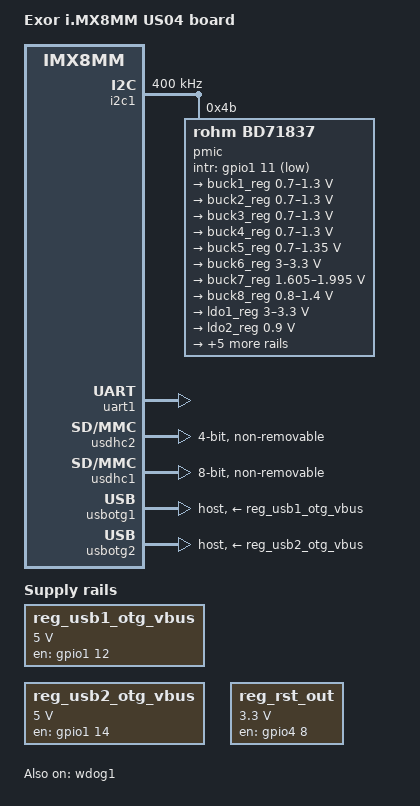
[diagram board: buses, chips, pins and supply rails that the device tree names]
/*
 * Copyright 2018 NXP
 * Copyright 2019 Exor International S.p.a.
 *
 * This program is free software; you can redistribute it and/or
 * modify it under the terms of the GNU General Public License
 * as published by the Free Software Foundation; either version 2
 * of the License, or (at your option) any later version.
 *
 * This program is distributed in the hope that it will be useful,
 * but WITHOUT ANY WARRANTY; without even the implied warranty of
 * MERCHANTABILITY or FITNESS FOR A PARTICULAR PURPOSE.  See the
 * GNU General Public License for more details.
 */

/dts-v1/;

#include "fsl-imx8mm.dtsi"

/ {
	model = "Exor i.MX8MM US04 board";
	compatible = "fsl,imx8mm-us04", "fsl,imx8mm";

	chosen {
		bootargs = "console=ttymxc0,115200 earlycon=ec_imx6q,0x30890000,115200";
		stdout-patch = &uart1;
	};
	
	aliases {
		mmc0 = &usdhc2;
		mmc1 = &usdhc1;
		mmc2 = &usdhc3;
    };

	regulators {
		compatible = "simple-bus";
		#address-cells = <1>;
		#size-cells = <0>;

        reg_usb1_otg_vbus: usb1_regulator {
            compatible = "regulator-fixed";
            reg = <0>;
            regulator-name = "usb1_vbus";
            regulator-min-microvolt = <5000000>;
            regulator-max-microvolt = <5000000>;
            gpio = <&gpio1 12 0>;
            enable-active-high;
        };

        reg_usb2_otg_vbus: usb2_regulator {
            compatible = "regulator-fixed";
            reg = <1>;
            regulator-name = "usb2_vbus";
            regulator-min-microvolt = <5000000>;
            regulator-max-microvolt = <5000000>;
            gpio = <&gpio1 14 0>;
            enable-active-high;
        };
        
        reg_rst_out: reset_out_regulator {
            compatible = "regulator-fixed";
            reg = <2>;
            regulator-name = "reset_out";
            regulator-min-microvolt = <3300000>;
            regulator-max-microvolt = <3300000>;
            gpio = <&gpio4 8 0>;
            enable-active-high;
            regulator-always-on;
            regulator-boot-on;
        };
    };
    
};

&iomuxc {
	pinctrl-names = "default";
	pinctrl-0 = <&pinctrl_hog>;

	imx8mm-evk {
		pinctrl_hog: hoggrp {
			fsl,pins = <
                MX8MM_IOMUXC_GPIO1_IO12_GPIO1_IO12      0x1c4
                MX8MM_IOMUXC_GPIO1_IO14_GPIO1_IO14      0x1c4
                MX8MM_IOMUXC_SAI1_RXD6_GPIO4_IO8        0x1c4
			>;
		};

		pinctrl_i2c1: i2c1grp {
			fsl,pins = <
				MX8MM_IOMUXC_I2C1_SCL_I2C1_SCL			0x400001c3
				MX8MM_IOMUXC_I2C1_SDA_I2C1_SDA			0x400001c3
			>;
		};

		pinctrl_pmic: pmicirq {
			fsl,pins = <
				MX8MM_IOMUXC_GPIO1_IO11_GPIO1_IO11		0x41
			>;
		};

		pinctrl_usdhc2: usdhc2grp {
			fsl,pins = <
				MX8MM_IOMUXC_SD2_CLK_USDHC2_CLK		0x190
				MX8MM_IOMUXC_SD2_CMD_USDHC2_CMD		0x1d0
				MX8MM_IOMUXC_SD2_DATA0_USDHC2_DATA0	0x1d0
				MX8MM_IOMUXC_SD2_DATA1_USDHC2_DATA1	0x1d0
				MX8MM_IOMUXC_SD2_DATA2_USDHC2_DATA2	0x1d0
				MX8MM_IOMUXC_SD2_DATA3_USDHC2_DATA3	0x1d0
			>;
		};

		pinctrl_usdhc2_100mhz: usdhc2grp100mhz {
			fsl,pins = <
				MX8MM_IOMUXC_SD2_CLK_USDHC2_CLK		0x194
				MX8MM_IOMUXC_SD2_CMD_USDHC2_CMD		0x1d4
				MX8MM_IOMUXC_SD2_DATA0_USDHC2_DATA0	0x1d4
				MX8MM_IOMUXC_SD2_DATA1_USDHC2_DATA1	0x1d4
				MX8MM_IOMUXC_SD2_DATA2_USDHC2_DATA2	0x1d4
				MX8MM_IOMUXC_SD2_DATA3_USDHC2_DATA3	0x1d4
			>;
		};

		pinctrl_usdhc2_200mhz: usdhc2grp200mhz {
			fsl,pins = <
				MX8MM_IOMUXC_SD2_CLK_USDHC2_CLK		0x196
				MX8MM_IOMUXC_SD2_CMD_USDHC2_CMD		0x1d6
				MX8MM_IOMUXC_SD2_DATA0_USDHC2_DATA0	0x1d6
				MX8MM_IOMUXC_SD2_DATA1_USDHC2_DATA1	0x1d6
				MX8MM_IOMUXC_SD2_DATA2_USDHC2_DATA2	0x1d6
				MX8MM_IOMUXC_SD2_DATA3_USDHC2_DATA3	0x1d6
			>;
		};

		pinctrl_usdhc1: usdhc1grp {
			fsl,pins = <
				MX8MM_IOMUXC_SD1_CLK_USDHC1_CLK       0x40000190
				MX8MM_IOMUXC_SD1_CMD_USDHC1_CMD       0x1d0
				MX8MM_IOMUXC_SD1_DATA0_USDHC1_DATA0   0x1d0
				MX8MM_IOMUXC_SD1_DATA1_USDHC1_DATA1   0x1d0
				MX8MM_IOMUXC_SD1_DATA2_USDHC1_DATA2   0x1d0
				MX8MM_IOMUXC_SD1_DATA3_USDHC1_DATA3   0x1d0
				MX8MM_IOMUXC_SD1_DATA4_USDHC1_DATA4   0x1d0
				MX8MM_IOMUXC_SD1_DATA5_USDHC1_DATA5   0x1d0
				MX8MM_IOMUXC_SD1_DATA6_USDHC1_DATA6   0x1d0
				MX8MM_IOMUXC_SD1_DATA7_USDHC1_DATA7   0x1d0
				MX8MM_IOMUXC_SD1_STROBE_USDHC1_STROBE 0x190
			>;
		};

		pinctrl_usdhc1_100mhz: usdhc1grp100mhz {
			fsl,pins = <
				MX8MM_IOMUXC_SD1_CLK_USDHC1_CLK       0x40000194
				MX8MM_IOMUXC_SD1_CMD_USDHC1_CMD       0x1d4
				MX8MM_IOMUXC_SD1_DATA0_USDHC1_DATA0   0x1d4
				MX8MM_IOMUXC_SD1_DATA1_USDHC1_DATA1   0x1d4
				MX8MM_IOMUXC_SD1_DATA2_USDHC1_DATA2   0x1d4
				MX8MM_IOMUXC_SD1_DATA3_USDHC1_DATA3   0x1d4
				MX8MM_IOMUXC_SD1_DATA4_USDHC1_DATA4   0x1d4
				MX8MM_IOMUXC_SD1_DATA5_USDHC1_DATA5   0x1d4
				MX8MM_IOMUXC_SD1_DATA6_USDHC1_DATA6   0x1d4
				MX8MM_IOMUXC_SD1_DATA7_USDHC1_DATA7   0x1d4
				MX8MM_IOMUXC_SD1_STROBE_USDHC1_STROBE 0x194
			>;
		};

		pinctrl_usdhc1_200mhz: usdhc1grp200mhz {
			fsl,pins = <
				MX8MM_IOMUXC_SD1_CLK_USDHC1_CLK       0x40000196
				MX8MM_IOMUXC_SD1_CMD_USDHC1_CMD       0x1d6
				MX8MM_IOMUXC_SD1_DATA0_USDHC1_DATA0   0x1d6
				MX8MM_IOMUXC_SD1_DATA1_USDHC1_DATA1   0x1d6
				MX8MM_IOMUXC_SD1_DATA2_USDHC1_DATA2   0x1d6
				MX8MM_IOMUXC_SD1_DATA3_USDHC1_DATA3   0x1d6
				MX8MM_IOMUXC_SD1_DATA4_USDHC1_DATA4   0x1d6
				MX8MM_IOMUXC_SD1_DATA5_USDHC1_DATA5   0x1d6
				MX8MM_IOMUXC_SD1_DATA6_USDHC1_DATA6   0x1d6
				MX8MM_IOMUXC_SD1_DATA7_USDHC1_DATA7   0x1d6
				MX8MM_IOMUXC_SD1_STROBE_USDHC1_STROBE 0x196
			>;
		};

		pinctrl_wdog: wdoggrp {
			fsl,pins = <
				MX8MM_IOMUXC_GPIO1_IO02_WDOG1_WDOG_B		0xc6
			>;
		};
	};
};

&i2c1 {
	clock-frequency = <400000>;
	pinctrl-names = "default";
	pinctrl-0 = <&pinctrl_i2c1>;
	status = "okay";

	pmic: bd71837@4b {
		reg = <0x4b>;
		compatible = "rohm,bd71837";
		/* PMIC BD71837 PMIC_nINT GPIO1_IO11 */
		pinctrl-0 = <&pinctrl_pmic>;
		gpio_intr = <&gpio1 11 GPIO_ACTIVE_LOW>;

		gpo {
			rohm,drv = <0x0C>;	/* 0b0000_1100 all gpos with cmos output mode */
		};

		regulators {
			#address-cells = <1>;
			#size-cells = <0>;

			bd71837,pmic-buck2-uses-i2c-dvs;
			bd71837,pmic-buck2-dvs-voltage = <1000000>, <900000>, <0>; /* VDD_ARM: Run-Idle */

			buck1_reg: regulator@0 {
				reg = <0>;
				regulator-compatible = "buck1";
				regulator-min-microvolt = <700000>;
				regulator-max-microvolt = <1300000>;
				regulator-boot-on;
				regulator-always-on;
				regulator-ramp-delay = <1250>;
			};

			buck2_reg: regulator@1 {
				reg = <1>;
				regulator-compatible = "buck2";
				regulator-min-microvolt = <700000>;
				regulator-max-microvolt = <1300000>;
				regulator-boot-on;
				regulator-always-on;
				regulator-ramp-delay = <1250>;
			};

			buck3_reg: regulator@2 {
				reg = <2>;
				regulator-compatible = "buck3";
				regulator-min-microvolt = <700000>;
				regulator-max-microvolt = <1300000>;
			};

			buck4_reg: regulator@3 {
				reg = <3>;
				regulator-compatible = "buck4";
				regulator-min-microvolt = <700000>;
				regulator-max-microvolt = <1300000>;
			};

			buck5_reg: regulator@4 {
				reg = <4>;
				regulator-compatible = "buck5";
				regulator-min-microvolt = <700000>;
				regulator-max-microvolt = <1350000>;
				regulator-boot-on;
				regulator-always-on;
			};

			buck6_reg: regulator@5 {
				reg = <5>;
				regulator-compatible = "buck6";
				regulator-min-microvolt = <3000000>;
				regulator-max-microvolt = <3300000>;
				regulator-boot-on;
				regulator-always-on;
			};

			buck7_reg: regulator@6 {
				reg = <6>;
				regulator-compatible = "buck7";
				regulator-min-microvolt = <1605000>;
				regulator-max-microvolt = <1995000>;
				regulator-boot-on;
				regulator-always-on;
			};

			buck8_reg: regulator@7 {
				reg = <7>;
				regulator-compatible = "buck8";
				regulator-min-microvolt = <800000>;
				regulator-max-microvolt = <1400000>;
				regulator-boot-on;
				regulator-always-on;
			};

			ldo1_reg: regulator@8 {
				reg = <8>;
				regulator-compatible = "ldo1";
				regulator-min-microvolt = <3000000>;
				regulator-max-microvolt = <3300000>;
				regulator-boot-on;
				regulator-always-on;
			};

			ldo2_reg: regulator@9 {
				reg = <9>;
				regulator-compatible = "ldo2";
				regulator-min-microvolt = <900000>;
				regulator-max-microvolt = <900000>;
				regulator-boot-on;
				regulator-always-on;
			};

			ldo3_reg: regulator@10 {
				reg = <10>;
				regulator-compatible = "ldo3";
				regulator-min-microvolt = <1800000>;
				regulator-max-microvolt = <3300000>;
				regulator-boot-on;
				regulator-always-on;
			};

			ldo4_reg: regulator@11 {
				reg = <11>;
				regulator-compatible = "ldo4";
				regulator-min-microvolt = <900000>;
				regulator-max-microvolt = <1800000>;
				regulator-boot-on;
				regulator-always-on;
			};

			ldo5_reg: regulator@12 {
				reg = <12>;
				regulator-compatible = "ldo5";
				regulator-min-microvolt = <1800000>;
				regulator-max-microvolt = <3300000>;
			};

			ldo6_reg: regulator@13 {
				reg = <13>;
				regulator-compatible = "ldo6";
				regulator-min-microvolt = <900000>;
				regulator-max-microvolt = <1800000>;
				regulator-boot-on;
				regulator-always-on;
			};

			ldo7_reg: regulator@14 {
				reg = <14>;
				regulator-compatible = "ldo7";
				regulator-min-microvolt = <1800000>;
				regulator-max-microvolt = <3300000>;
			};
		};
	};
};

&uart1 { /* console */
	status = "okay";
};

&usdhc2 {
	pinctrl-names = "default";
	pinctrl-0 = <&pinctrl_usdhc2>;
	bus-width = <4>;
	non-removable;
	status = "okay";
};

&usdhc1 {
	pinctrl-names = "default";
	pinctrl-0 = <&pinctrl_usdhc1>;
	bus-width = <8>;
	non-removable;
	status = "okay";
};

&wdog1 {
	pinctrl-names = "default";
	pinctrl-0 = <&pinctrl_wdog>;
	fsl,ext-reset-output;
	status = "okay";
};

&A53_0 {
	arm-supply = <&buck2_reg>;
};

&usbotg1 {
    dr_mode = "host";
    vbus-supply = <&reg_usb1_otg_vbus>;
    status = "okay";
};

&usbotg2 {
    dr_mode = "host";
    vbus-supply = <&reg_usb2_otg_vbus>;
    status = "okay"; 
};
